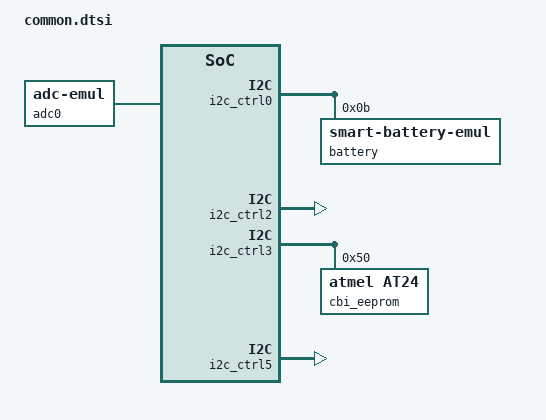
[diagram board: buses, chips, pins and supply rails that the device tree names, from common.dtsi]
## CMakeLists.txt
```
# Copyright 2022 The ChromiumOS Authors
# Use of this source code is governed by a BSD-style license that can be
# found in the LICENSE file.

cmake_minimum_required(VERSION 3.13.1)
find_package(Zephyr REQUIRED HINTS "${ZEPHYR_BASE}")
project(kingler)

add_subdirectory(${PLATFORM_EC}/zephyr/test/test_utils test_utils)

zephyr_include_directories("${PLATFORM_EC_PROGRAM_DIR}/corsola/include")
zephyr_include_directories("${PLATFORM_EC_PROGRAM_DIR}/../test/drivers/common/include")

target_sources_ifdef(CONFIG_TEST_BUILD_FAKE app PRIVATE src/fakes.c)

target_sources_ifdef(
        CONFIG_TEST_KINGLER_USBC
        app
        PRIVATE
        ${PLATFORM_EC_PROGRAM_DIR}/corsola/src/npcx_usbc.c
        ${PLATFORM_EC_PROGRAM_DIR}/corsola/src/npcx_usb_pd_policy.c
        ${PLATFORM_EC_PROGRAM_DIR}/corsola/src/usb_pd_policy.c
        ${PLATFORM_EC_PROGRAM_DIR}/corsola/src/usbc.c
        src/kingler_usbc.c)

target_sources_ifdef(CONFIG_TEST_CORSOLA_USBC app PRIVATE
                     ${PLATFORM_EC_PROGRAM_DIR}/corsola/src/usbc.c
                     src/corsola_usbc.c)

target_sources_ifdef(CONFIG_TEST_CORSOLA_USB_PD_POLICY app PRIVATE
                     ${PLATFORM_EC_PROGRAM_DIR}/corsola/src/usb_pd_policy.c
                     src/corsola_usb_pd_policy.c)

target_sources_ifdef(CONFIG_TEST_STEELIX_RUSTY app PRIVATE
                     ${PLATFORM_EC_PROGRAM_DIR}/corsola/steelix/src/board.c)
target_sources_ifdef(CONFIG_TEST_FORM_FACTOR_CONVERTIBLE app PRIVATE
                     src/tablet.c)
target_sources_ifdef(CONFIG_TEST_FORM_FACTOR_CLAMSHELL app PRIVATE
                     src/clamshell.c)
target_sources_ifdef(CONFIG_TEST_STEELIX_LED app PRIVATE
		     ${PLATFORM_EC_PROGRAM_DIR}/corsola/steelix/src/led.c
                     src/steelix_led.c)
target_sources_ifdef(
        CONFIG_TEST_DB_DETECT_TYPEC app PRIVATE
        ${PLATFORM_EC_PROGRAM_DIR}/corsola/src/variant_db_detection.c
        src/db_detect_typec.c)
target_sources_ifdef(
        CONFIG_TEST_DB_DETECT_HDMI
        app
        PRIVATE
        src/db_detect_hdmi.c
        ${PLATFORM_EC_PROGRAM_DIR}/corsola/src/variant_db_detection.c
        ${PLATFORM_EC}/zephyr/shim/src/usb_muxes.c
        ${PLATFORM_EC}/driver/usb_mux/usb_mux.c
        ${PLATFORM_EC}/driver/usb_mux/virtual.c)
target_sources_ifdef(
        CONFIG_TEST_DB_DETECT_NONE app PRIVATE
        ${PLATFORM_EC_PROGRAM_DIR}/corsola/src/variant_db_detection.c
        src/db_detect_none.c)
target_sources_ifdef(CONFIG_TEST_ALT_SENSOR_PROBE app PRIVATE src/alt_sensor.c)
target_sources_ifdef(CONFIG_TEST_KINGLER_CCD app PRIVATE src/ccd.c
                     ${PLATFORM_EC_PROGRAM_DIR}/corsola/src/board.c)
target_sources_ifdef(CONFIG_TEST_VOLTORB app PRIVATE src/voltorb_usbc.c
                     ${PLATFORM_EC_PROGRAM_DIR}/corsola/voltorb/src/usbc.c)
target_sources_ifdef(CONFIG_TEST_VOLTORB_DPS app PRIVATE src/voltorb_dps.c
                     ${PLATFORM_EC_PROGRAM_DIR}/corsola/voltorb/src/board.c)

target_sources_ifdef(
        CONFIG_TEST_DB_DETECTION_USB_COUNT
        app
        PRIVATE
        ${PLATFORM_EC_PROGRAM_DIR}/corsola/src/usbc.c
        src/usb_port_count.c)

target_sources_ifdef(
        CONFIG_TEST_PONYTA
        app
        PRIVATE
        ${PLATFORM_EC_PROGRAM_DIR}/corsola/ponyta/src/board.c
        src/ponyta_board.c)

target_sources_ifdef(CONFIG_TEST_KYOGRE_SENSOR_PROBE app PRIVATE src/kyogre_sensor.c)
target_sources_ifdef(
	CONFIG_TEST_KYOGRE_BATTERY_DETECTION_PROBE
	app
	PRIVATE
        ${PLATFORM_EC_PROGRAM_DIR}/corsola/kyogre/src/battery_detection.c
	src/kyogre_battery_detection.c)
target_sources_ifdef(CONFIG_TEST_KYOGRE_PEN_CHARGE_PROBE app PRIVATE
        ${PLATFORM_EC_PROGRAM_DIR}/corsola/kyogre/src/pen_charge.c
        src/kyogre_pen_charge.c)

target_sources_ifdef(CONFIG_TEST_SQUIRTLE
			app PRIVATE
                        src/voltorb_usbc.c
			${PLATFORM_EC_PROGRAM_DIR}/corsola/squirtle/src/usbc.c
                        )
```

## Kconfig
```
# Copyright 2022 The ChromiumOS Authors
# Use of this source code is governed by a BSD-style license that can be
# found in the LICENSE file.

config TEST_CORSOLA_USBC
	bool "Run the tests intended for corsola"
	help
	  Include USB-C usbc.c into the binary.

config TEST_CORSOLA_USB_PD_POLICY
	bool "Run the tests intended for corsola"
	help
	  Include USB-C usb_pd_policy.c tests into the binary.

config TEST_KINGLER_USBC
	bool "Run the tests intended for kingler"
	help
	  Include USB-C tests into the binary.

config TEST_STEELIX_RUSTY
	bool "Run the tests intended for steelix and rusty"
	help
	  Include board_steelix.c into the binary to test the clamshell and
	  convertible.

config TEST_STEELIX_LED
	bool "Run the tests intended for steelix and rusty"
	help
	  Include steelix_led.c into the binary to test the LED
	  functions.

config TEST_FORM_FACTOR_CLAMSHELL
	bool "Run the tests intended for clamshells"
	help
	  Include clamshell tests into the binary.

config TEST_FORM_FACTOR_CONVERTIBLE
	bool "Run the tests intended for convertibles"
	help
	  Include convertible tests into the binary.

config VARIANT_CORSOLA_DB_DETECTION
	bool "Run the tests intended for corsola DB detection"
	help
	  Include variant_db_detection.c into the binary to test the type-c DB
	  tests, HDMI DB tests and none DB tests.

config TEST_DB_DETECT_TYPEC
	bool "Run the tests intended for type-c DB"
	help
	  Include type-c DB tests into the binary.
	  test for DB GPIOs and interrupt.

config TEST_DB_DETECT_HDMI
	bool "Run the tests intended for HDMI DB"
	help
	  Include HDMI DB tests into the binary.
	  test for DB GPIOs and interrupt.

config TEST_DB_DETECT_NONE
	bool "Run the tests intended for none DB"
	help
	  Include none DB tests into the binary.
	  test for DB GPIOs and interrupt.

config TEST_ALT_SENSOR_PROBE
	bool "Run the tests intended for alt sensor probe"
	help
	  Include alt_sensor.c into the binary to test the alt sensor probe via
	  SSFC.

config TEST_KINGLER_CCD
	bool "Run the tests intended for alt sensor probe"
	help
	  Include alt_sensor.c into the binary to test the alt sensor probe via
	  SSFC.

config TEST_VOLTORB
	bool "Run the tests intended for voltorb"
	help
	  Include voltorb_usbc.c into the binary to test the type-c output
	  current limit function.

config TEST_VOLTORB_DPS
	bool "Run the tests intended for voltorb"
	help
	  Include voltorb_dps.c into the binary to test DPS change.

config TEST_DISABLE_INLINE_CHIPSET_IN_STATE
	bool "Disable chipset_in_state inline method"
	help
	  This is used to not define chipset_in_state method as inline
	  function.

config TEST_USB_PD_POLICY
	bool "Run the tests intended for voltorb usb policy"
	select TEST_DISABLE_INLINE_CHIPSET_IN_STATE
	help
	  Include voltorb_usbc.c into the binary to test the type-c output
	  current limit function.

config TEST_DB_DETECTION_USB_COUNT
	bool "Run the tests intended for db detection"
	help
	  Include USB-C tests into the binary for testing the reported port
	  count with db detection.

config TEST_PONYTA
	bool "Run the tests intended for ponyta"
	help
	  Include ponyta_boart.c into the binary to test the alt sensor probe via
	  SSFC and clamshell or convertible.


config TEST_SQUIRTLE
	bool "Run the tests intended for squirtle"
	help
	  Include voltorb_usbc.c into the binary to test the type-c output
	  current limit function.

config TEST_KYOGRE_SENSOR_PROBE
	bool "Run the tests intended for kyogre sensor probe"
	help
	  Include kyogre_sensor.c into the binary to test the kyogre sensor probe
	  with GPIO interrupt.

config TEST_KYOGRE_BATTERY_DETECTION_PROBE
	bool "Run the tests intended for kyogre battery detection probe"
	help
	  Include kyogre_battery_detection.c into the binary to test the kyogre
	  battery detection probe.

config TEST_KYOGRE_PEN_CHARGE_PROBE
	bool "Run the tests intended for kyogre pen charge probe"
	help
	  Include kyogre_pen_charge.c into the binary to test the kyogre pen charge
	  probe with GPIO interrupt.

config TEST_BUILD_FAKE
	bool "Build fakes.c"
	default y
	help
	  Add common fake functions fakes.c to the test

source "Kconfig.zephyr"
```

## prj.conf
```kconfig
# Copyright 2022 The ChromiumOS Authors
# Use of this source code is governed by a BSD-style license that can be
# found in the LICENSE file.

CONFIG_ZTEST=y
CONFIG_ZTEST_ASSERT_VERBOSE=1
CONFIG_ASSERT=y
CONFIG_EMUL=y
CONFIG_PLATFORM_EC_HOOKS=y

CONFIG_CROS_EC=y
CONFIG_PLATFORM_EC=y

CONFIG_PLATFORM_EC_LED_COMMON=n

CONFIG_PLATFORM_EC_GPIO_INIT_PRIORITY=49
CONFIG_PLATFORM_EC_DYNAMIC_MOTION_SENSOR_COUNT=y
CONFIG_PLATFORM_EC_GMR_TABLET_MODE=y
CONFIG_PLATFORM_EC_TABLET_MODE=y
CONFIG_PLATFORM_EC_LID_ANGLE=y

CONFIG_I2C_NPCX=n

CONFIG_GPIO_GET_CONFIG=y

CONFIG_PLATFORM_EC_BOARD_VERSION_CBI=y
CONFIG_EEPROM=y
CONFIG_EEPROM_SIMULATOR=n
CONFIG_EEPROM_AT2X_EMUL=y

CONFIG_LOG=y
CONFIG_LOG_MODE_MINIMAL=y
CONFIG_POSIX_ARCH_CONSOLE_INIT_PRIORITY=98
CONFIG_PLATFORM_EC_CONSOLE_INIT_PRIORITY=99
```

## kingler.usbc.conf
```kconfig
# Copyright 2023 The ChromiumOS Authors
# Use of this source code is governed by a BSD-style license that can be
# found in the LICENSE file.

CONFIG_PLATFORM_EC_TCPC_INTERRUPT=y
CONFIG_PLATFORM_EC_USB_PORT_POWER_DUMB=y
CONFIG_PLATFORM_EC_USBC=y
CONFIG_PLATFORM_EC_USB_PORT_POWER_DUMB_CUSTOM_HOOK=y
CONFIG_PLATFORM_EC_USBC_PPC=y
CONFIG_PLATFORM_EC_BATTERY_FUEL_GAUGE=y
CONFIG_PLATFORM_EC_VBOOT_HASH=n
CONFIG_PLATFORM_EC_SWITCH=n
CONFIG_PLATFORM_EC_USB_PD_DISCHARGE_PPC=y
CONFIG_PLATFORM_EC_USB_PD_VBUS_MEASURE_BY_BOARD=y
CONFIG_PLATFORM_EC_CHARGER_SENSE_RESISTOR=10
CONFIG_PLATFORM_EC_CHARGER_SENSE_RESISTOR_AC=20
CONFIG_PLATFORM_EC_EXTPOWER=y
CONFIG_PLATFORM_EC_HOSTCMD=y
CONFIG_VARIANT_CORSOLA_DB_DETECTION=n
CONFIG_PLATFORM_EC_BACKLIGHT_LID=n
CONFIG_PLATFORM_EC_CHARGER_ISL9238C=y
CONFIG_PLATFORM_EC_CHARGE_MANAGER=y
CONFIG_PLATFORM_EC_CHARGER=y
CONFIG_PLATFORM_EC_LID_SWITCH=y
CONFIG_PLATFORM_EC_CHARGE_RAMP_HW=y
CONFIG_PLATFORM_EC_USB_CHARGER=y
CONFIG_EMUL_TCPCI_PARTNER_DRP=y
```

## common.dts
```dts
/* Copyright 2022 The ChromiumOS Authors
 * Use of this source code is governed by a BSD-style license that can be
 * found in the LICENSE file.
 */

#include <board-overlays/native_posix.dts>
#include <npcx_emul.dts>

/ {
	usbc {
		#address-cells = <1>;
		#size-cells = <0>;
		port0@0 {
			compatible = "named-usbc-port";
			reg = <0>;
			usb-mux-chain-0 {
				compatible = "cros-ec,usb-mux-chain";
				usb-muxes = <&virtual_mux_0>;
			};
		};
		port1@1 {
			compatible = "named-usbc-port";
			reg = <1>;
			usb-mux-chain-1 {
				compatible = "cros-ec,usb-mux-chain";
				usb-muxes = <&virtual_mux_1>;
			};
		};
		port0-muxes {
			virtual_mux_0: virtual-mux-0 {
				compatible = "cros-ec,usbc-mux-virtual";
			};
		};
		port1-muxes {
			virtual_mux_1: virtual-mux-1 {
				compatible = "cros-ec,usbc-mux-virtual";
			};
		};
	};

	/* These are temporary just to get the test to build.
	 * Should be replaced with the correct accel drivers,
	 * but we're not testing that code right now anyway.
	 */
	motionsense-sensor-data {
		bmi160_data: bmi160-drv-data {
			compatible = "cros-ec,drvdata-bmi160";
			status = "okay";
		};
	};
	motionsense-sensor {
		base_accel: ms-bmi160-accel {
			compatible = "cros-ec,bmi160-accel";
			status = "okay";

			active-mask = "SENSOR_ACTIVE_S0_S3_S5";
			location = "MOTIONSENSE_LOC_BASE";
			drv-data = <&bmi160_data>;
			default-range = <4>;
			i2c-spi-addr-flags = "BMI160_ADDR0_FLAGS";
		};
		lid_accel: ms-bmi160-accel2 {
			compatible = "cros-ec,bmi160-accel";
			status = "okay";

			active-mask = "SENSOR_ACTIVE_S0_S3_S5";
			location = "MOTIONSENSE_LOC_BASE";
			drv-data = <&bmi160_data>;
			default-range = <4>;
			i2c-spi-addr-flags = "BMI160_ADDR0_FLAGS";
		};
	};
	motionsense-sensor-info {
		compatible = "cros-ec,motionsense-sensor-info";

		/*
		 * list of GPIO interrupts that have to
		 * be enabled at initial stage
		 */
		sensor-irqs = <&int_base_imu>;
		/* list of sensors in force mode */
		accel-force-mode-sensors = <&lid_accel>;
	};
	named-i2c-ports {
		compatible = "named-i2c-ports";
		i2c_sensor: i2c-sensor {
			i2c-port = <&i2c0_0>;
			enum-names = "I2C_PORT_SENSOR";
		};
		i2c_eeprom: i2c-eeprom {
			i2c-port = <&i2c3_0>;
			enum-names = "I2C_PORT_EEPROM";
		};
	};
	/* TODO(jbettis): Move the i2c ports and pinctrls to npcx_emul.dts,
	 * and add all of them instead of just these.
	 */
	soc-if {
		i2c0_0: io_i2c_ctrl0_port0 {
			compatible = "nuvoton,npcx-i2c-port";
			#address-cells = <1>;
			#size-cells = <0>;
			port = <0x00>;
			controller = <&i2c_ctrl0>;
			status = "disabled";
		};
		i2c3_0: io_i2c_ctrl3_port0 {
			compatible = "nuvoton,npcx-i2c-port";
			#address-cells = <1>;
			#size-cells = <0>;
			port = <0x30>;
			controller = <&i2c_ctrl3>;
			status = "disabled";
		};
	};
	pinctrl: pinctrl {
		compatible = "nuvoton,npcx-pinctrl";
		status = "okay";
		/* I2C peripheral interfaces */
		/omit-if-no-ref/ i2c0_0_sda_scl_gpb4_b5: periph-i2c0-0 {
			pinmux = <&alt2_i2c0_0_sl>;
			periph-pupd = <0x00 0>;
		};
		/omit-if-no-ref/ i2c3_0_sda_scl_gpd0_d1: periph-i2c3-0 {
			pinmux = <&alt2_i2c3_0_sl>;
			periph-pupd = <0x00 6>;
		};
	};
	npcx-alts-map {
		compatible = "nuvoton,npcx-pinctrl-conf";
		/* SCFG DEVALT 2 */
		alt2_i2c0_0_sl: alt20 {
			alts = <&scfg 0x02 0x0 0>;
		};
		alt2_i2c3_0_sl: alt26 {
			alts = <&scfg 0x02 0x6 0>;
		};
	};
};

&i2c0_0 {
	status = "okay";
	clock-frequency = <I2C_BITRATE_FAST>;
	pinctrl-0 = <&i2c0_0_sda_scl_gpb4_b5>;
	pinctrl-names = "default";
};

&i2c_ctrl0 {
	status = "okay";
};

&i2c_ctrl2 {
	status = "okay";
};

i2c_pwr_cbi: &i2c3_0 {
	status = "okay";
	clock-frequency = <I2C_BITRATE_FAST>;
	pinctrl-0 = <&i2c3_0_sda_scl_gpd0_d1>;
	pinctrl-names = "default";

	charger: isl923x@9 {
		compatible = "intersil,isl923x";
		status = "okay";
		reg = <0x9>;
	};
};

&i2c_ctrl3 {
	status = "okay";
};

&i2c_ctrl5 {
	status = "okay";
};

&i2c_ctrl3 {
	cbi_eeprom: eeprom@50 {
		compatible = "atmel,at24";
		reg = <0x50>;
		size = <2048>;
		pagesize = <16>;
		address-width = <8>;
		timeout = <5>;
	};
};
```

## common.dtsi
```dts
/* Copyright 2022 The ChromiumOS Authors
 * Use of this source code is governed by a BSD-style license that can be
 * found in the LICENSE file.
 */

#include <board-overlays/native_sim.dts>
#include <dt-bindings/usb_pd_tcpm.h>
#include <npcx_emul.dts>
#include <zephyr/dt-bindings/gpio/gpio.h>

/ {
	usbc {
		#address-cells = <1>;
		#size-cells = <0>;
		port0@0 {
			compatible = "named-usbc-port";
			reg = <0>;
			usb-mux-chain-0 {
				compatible = "cros-ec,usb-mux-chain";
				usb-muxes = <&virtual_mux_0>;
			};
		};
		port1@1 {
			compatible = "named-usbc-port";
			reg = <1>;
			usb-mux-chain-1 {
				compatible = "cros-ec,usb-mux-chain";
				usb-muxes = <&virtual_mux_1>;
			};
			usb_mux_chain_1_hdmi_db: usb-mux-chain-1-hdmi-db {
				compatible = "cros-ec,usb-mux-chain";
				alternative-chain;
				usb-muxes = <&virtual_mux_1>;
			};
		};
		port0-muxes {
			virtual_mux_0: virtual-mux-0 {
				compatible = "cros-ec,usbc-mux-virtual";
			};
		};
		port1-muxes {
			virtual_mux_1: virtual-mux-1 {
				compatible = "cros-ec,usbc-mux-virtual";
			};
		};
	};

	adc0: adc {
		compatible = "zephyr,adc-emul";
		nchannels = <6>;
		ref-internal-mv = <3300>;
		#io-channel-cells = <1>;
		status = "okay";
	};

	named-adc-channels {
		compatible = "named-adc-channels";

		adc_charger_pmon_r {
			enum-name = "ADC_PSYS";
			io-channels = <&adc0 0>;
			/*
			 * ISL9238C PSYS output is 1.44 uA/W over 33K resistor.
			 */
			mul = <21043>;
		};
		adc_ec_id0 {
			enum-name = "ADC_ID_0";
			io-channels = <&adc0 1>;
		};
		adc_ec_id1 {
			enum-name = "ADC_ID_1";
			io-channels = <&adc0 2>;
		};
		adc_charger_amon_r {
			enum-name = "ADC_AMON_BMON";
			io-channels = <&adc0 3>;
			mul = <1000>;
			div = <18>;
		};
	};

	/* These are temporary just to get the test to build.
	 * Should be replaced with the correct accel drivers,
	 * but we're not testing that code right now anyway.
	 */
	motionsense-sensor-data {
		bmi160_data: bmi160-drv-data {
			compatible = "cros-ec,drvdata-bmi160";
			status = "okay";
		};
	};
	motionsense-sensor {
		base_accel: ms-bmi160-accel {
			compatible = "cros-ec,bmi160-accel";
			status = "okay";

			active-mask = "SENSOR_ACTIVE_S0_S3_S5";
			location = "MOTIONSENSE_LOC_BASE";
			drv-data = <&bmi160_data>;
			default-range = <4>;
			i2c-spi-addr-flags = "BMI160_ADDR0_FLAGS";
		};
		lid_accel: ms-bmi160-accel2 {
			compatible = "cros-ec,bmi160-accel";
			status = "okay";

			active-mask = "SENSOR_ACTIVE_S0_S3_S5";
			location = "MOTIONSENSE_LOC_BASE";
			drv-data = <&bmi160_data>;
			default-range = <4>;
			i2c-spi-addr-flags = "BMI160_ADDR0_FLAGS";
		};
	};
	motionsense-sensor-info {
		compatible = "cros-ec,motionsense-sensor-info";

		/*
		 * list of GPIO interrupts that have to
		 * be enabled at initial stage
		 */
		sensor-irqs = <&int_base_imu>;
		/* list of sensors in force mode */
		accel-force-mode-sensors = <&lid_accel>;
	};

	named-i2c-ports {
		compatible = "named-i2c-ports";
		i2c_sensor: i2c-sensor {
			i2c-port = <&i2c_ctrl0>;
			enum-names = "I2C_PORT_SENSOR";
		};
		i2c_eeprom: i2c-eeprom {
			i2c-port = <&i2c_ctrl3>;
			enum-names = "I2C_PORT_EEPROM", "I2C_PORT_BATTERY",
					"I2C_PORT_CHARGER";
		};
	};
	pinctrl: pinctrl {
		compatible = "nuvoton,npcx-pinctrl";
		status = "okay";
		/* I2C peripheral interfaces */
		/omit-if-no-ref/ i2c0_0_sda_scl_gpb4_b5: periph-i2c0-0 {
			pinmux = <&alt2_i2c0_0_sl>;
			periph-pupd = <0x00 0>;
		};
		/omit-if-no-ref/ i2c3_0_sda_scl_gpd0_d1: periph-i2c3-0 {
			pinmux = <&alt2_i2c3_0_sl>;
			periph-pupd = <0x00 6>;
		};
	};
	npcx-alts-map {
		compatible = "nuvoton,npcx-pinctrl-conf";
		/* SCFG DEVALT 2 */
		alt2_i2c0_0_sl: alt20 {
			alts = <&scfg 0x02 0x0 0>;
		};
		alt2_i2c3_0_sl: alt26 {
			alts = <&scfg 0x02 0x6 0>;
		};
	};
};

&i2c_ctrl0 {
	status = "okay";


	battery: sb@b {
		compatible = "zephyr,smart-battery-emul";
		status = "okay";
		reg = <0xb>;
		cycle-count = <99>;
		version = "BATTERY_SPEC_VER_1_1_WITH_PEC";
		/* Real battery voltages are multiples of 4.4V. */
		desired-charg-volt = <5000>;
		desired-charg-cur = <1000>;
		mf-name = "LGC";
		dev-name = "AC17A8M";
	};
};

&i2c_ctrl2 {
	status = "okay";
};

&i2c_ctrl3 {
	status = "okay";

	cbi_eeprom: eeprom@50 {
		compatible = "atmel,at24";
		reg = <0x50>;
		size = <2048>;
		pagesize = <16>;
		address-width = <8>;
		timeout = <5>;
	};
};

&i2c_ctrl5 {
	status = "okay";
};
```

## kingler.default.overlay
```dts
/* Copyright 2023 The ChromiumOS Authors
 * Use of this source code is governed by a BSD-style license that can be
 * found in the LICENSE file.
 */

#include "common.dtsi"
#include "../program/corsola/npcx_interrupts.dtsi"
#include "../program/corsola/npcx_gpio.dtsi"
#include "../program/corsola/usba.dtsi"
```

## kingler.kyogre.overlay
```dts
/* Copyright 2024 The ChromiumOS Authors
 * Use of this source code is governed by a BSD-style license that can be
 * found in the LICENSE file.
 */

#include "common.dtsi"
#include "../program/corsola/npcx_interrupts.dtsi"
#include "../program/corsola/npcx_gpio.dtsi"

/ {
	aliases {
		/*
		 * motion sense's <>_INT_EVENT is handled
		 * by alias. Using the alias, each driver creates
		 * its own <>_INT_EVENT.
		 */
		lsm6dso-int = &base_accel;
		lis2dw12-int = &lid_accel;
	};

	gpio-interrupts {
		compatible = "cros-ec,gpio-interrupts";
		/delete-node/ int_base_imu;
		/delete-node/ int_lid_imu;

		int_base_imu: base_imu {
			irq-pin = <&base_imu_int_l>;
			flags = <GPIO_INT_EDGE_FALLING>;
			handler = "lsm6dso_interrupt";
		};
		int_lid_imu: lid_imu {
			irq-pin = <&lid_accel_int_l>;
			flags = <GPIO_INT_EDGE_FALLING>;
			handler = "lis2dw12_interrupt";
		};
		int_pen_fault: pen_fault {
			irq-pin = <&pen_fault_od>;
			flags = <GPIO_INT_EDGE_RISING>;
			handler = "pen_fault_interrupt";
		};
	};

	named-gpios {
		compatible = "named-gpios";
		/delete-node/ lid_accel_int_l;

		lid_accel_int_l:lid_accel_int_l {
			gpios = <&gpiob 3 (GPIO_INPUT | GPIO_VOLTAGE_1P8)>;
		};
		ec_batt_pres_odl: ec_batt_pres_odl {
			gpios = <&gpioe 0 GPIO_INPUT>;
			enum-name = "GPIO_BATT_PRES_ODL";
		};
		ec_pen_chg_dis_odl: ec_pen_chg_dis_odl {
 			gpios = <&gpioe 4 GPIO_ODR_HIGH>;
		};
		pen_fault_od: pen_fault_od {
			gpios = <&gpiof 3 GPIO_INPUT>;
		};
	};

	motionsense-sensor-info {
		compatible = "cros-ec,motionsense-sensor-info";

		/*
		 * list of GPIO interrupts that have to
		 * be enabled at initial stage
		 */
		sensor-irqs = <&int_base_imu &int_lid_imu>;
	};
};
```

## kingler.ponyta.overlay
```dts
/* Copyright 2023 The ChromiumOS Authors
 * Use of this source code is governed by a BSD-style license that can be
 * found in the LICENSE file.
 */

#include "common.dtsi"
#include "../program/corsola/npcx_interrupts.dtsi"
#include "../program/corsola/npcx_gpio.dtsi"
#include "../program/corsola/ponyta/cbi.dtsi"
#include "../program/corsola/ponyta/interrupts.dtsi"

/ {
	aliases {
		/*
		 * motion sense's <>_INT_EVENT is handled
		 * by alias. Using the alias, each driver creates
		 * its own <>_INT_EVENT.
		 */
		lsm6dsm-int = &base_accel;
	};
};
```

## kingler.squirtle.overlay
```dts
/* Copyright 2024 The ChromiumOS Authors
 * Use of this source code is governed by a BSD-style license that can be
 * found in the LICENSE file.
 */

#include "common.dtsi"
#include "../program/corsola/npcx_interrupts.dtsi"
#include "../program/corsola/npcx_gpio.dtsi"
#include "../program/corsola/usba.dtsi"
```

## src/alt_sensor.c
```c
/* Copyright 2022 The ChromiumOS Authors
 * Use of this source code is governed by a BSD-style license that can be
 * found in the LICENSE file.
 */

#include "cros_board_info.h"
#include "cros_cbi.h"
#include "gpio_signal.h"
#include "hooks.h"
#include "zephyr/kernel.h"

#include <zephyr/drivers/gpio/gpio_emul.h>
#include <zephyr/ztest.h>

/* SSFC field defined in zephyr/program/corsola/cbi_steelix.dts */
#define SSFC_BASE_MAIN_SENSOR (0x1)
#define SSFC_BASE_ALT_SENSOR (0x1 << 1)

#define SSFC_LID_MAIN_SENSOR (0x1 << 3)
#define SSFC_LID_ALT_SENSOR (0x1 << 4)

#define SSFC_MAIM_SENSORS (SSFC_LID_MAIN_SENSOR | SSFC_BASE_MAIN_SENSOR)
#define SSFC_ALT_SENSORS (SSFC_LID_ALT_SENSOR | SSFC_BASE_ALT_SENSOR)

static void reset(void)
{
	/* Re-initialize CBI */
	cros_cbi_ec_init();

	/* Re-initialize sensors and board config */
	hook_notify(HOOK_INIT);
}

static void *use_alt_sensor_setup(void)
{
	const struct device *wp_gpio =
		DEVICE_DT_GET(DT_GPIO_CTLR(DT_ALIAS(gpio_wp), gpios));
	const gpio_port_pins_t wp_pin = DT_GPIO_PIN(DT_ALIAS(gpio_wp), gpios);

	/* Make sure that write protect is disabled */
	zassert_ok(gpio_emul_input_set(wp_gpio, wp_pin, 1), NULL);
	/* Set SSFC to enable alt sensors. */
	zassert_ok(cbi_set_ssfc(SSFC_ALT_SENSORS), NULL);
	/* Set form factor to CONVERTIBLE to enable motion sense interrupts. */
	zassert_ok(cbi_set_fw_config(CONVERTIBLE << 13), NULL);
	/* Run init hooks to initialize cbi. */
	reset();

	return NULL;
}

ZTEST_SUITE(use_alt_sensor, NULL, use_alt_sensor_setup, NULL, NULL, NULL);

static void *no_alt_sensor_setup(void)
{
	const struct device *wp_gpio =
		DEVICE_DT_GET(DT_GPIO_CTLR(DT_ALIAS(gpio_wp), gpios));
	const gpio_port_pins_t wp_pin = DT_GPIO_PIN(DT_ALIAS(gpio_wp), gpios);

	/* Make sure that write protect is disabled */
	zassert_ok(gpio_emul_input_set(wp_gpio, wp_pin, 1), NULL);
	/* Set SSFC to disable alt sensors. */
	zassert_ok(cbi_set_ssfc(SSFC_MAIM_SENSORS), NULL);
	/* Set form factor to CONVERTIBLE to enable motion sense interrupts. */
	zassert_ok(cbi_set_fw_config(CONVERTIBLE << 13), NULL);
	/* Run init hooks to initialize cbi. */
	reset();

	return NULL;
}

ZTEST_SUITE(no_alt_sensor, NULL, no_alt_sensor_setup, NULL, NULL, NULL);

static int interrupt_id;

void bmi3xx_interrupt(enum gpio_signal signal)
{
	interrupt_id = 1;
}

void lsm6dsm_interrupt(enum gpio_signal signal)
{
	interrupt_id = 2;
}

ZTEST(use_alt_sensor, test_use_alt_sensor)
{
	const struct device *base_imu_gpio = DEVICE_DT_GET(
		DT_GPIO_CTLR(DT_NODELABEL(base_imu_int_l), gpios));
	const gpio_port_pins_t base_imu_pin =
		DT_GPIO_PIN(DT_NODELABEL(base_imu_int_l), gpios);

	zassert_ok(gpio_emul_input_set(base_imu_gpio, base_imu_pin, 1), NULL);
	k_sleep(K_MSEC(100));
	zassert_ok(gpio_emul_input_set(base_imu_gpio, base_imu_pin, 0), NULL);
	k_sleep(K_MSEC(100));

	zassert_equal(interrupt_id, 2, "interrupt_id=%d", interrupt_id);
}

ZTEST(no_alt_sensor, test_no_alt_sensor)
{
	const struct device *base_imu_gpio = DEVICE_DT_GET(
		DT_GPIO_CTLR(DT_NODELABEL(base_imu_int_l), gpios));
	const gpio_port_pins_t base_imu_pin =
		DT_GPIO_PIN(DT_NODELABEL(base_imu_int_l), gpios);

	zassert_ok(gpio_emul_input_set(base_imu_gpio, base_imu_pin, 1), NULL);
	k_sleep(K_MSEC(100));
	zassert_ok(gpio_emul_input_set(base_imu_gpio, base_imu_pin, 0), NULL);
	k_sleep(K_MSEC(100));

	zassert_equal(interrupt_id, 1, "interrupt_id=%d", interrupt_id);
}
```

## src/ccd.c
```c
/* Copyright 2022 The ChromiumOS Authors
 * Use of this source code is governed by a BSD-style license that can be
 * found in the LICENSE file.
 */

#include "gpio/gpio_int.h"
#include "gpio_signal.h"
#include "hooks.h"

#include <zephyr/drivers/gpio/gpio_emul.h>
#include <zephyr/fff.h>
#include <zephyr/kernel.h>
#include <zephyr/ztest.h>

FAKE_VOID_FUNC(typec_set_sbu, int, bool);
/* fake definitions to pass build */
FAKE_VOID_FUNC(bmi3xx_interrupt, enum gpio_signal);
FAKE_VOID_FUNC(x_ec_interrupt, enum gpio_signal);

#define FFF_FAKES_LIST(FAKE)   \
	FAKE(typec_set_sbu)    \
	FAKE(bmi3xx_interrupt) \
	FAKE(x_ec_interrupt)

struct kingler_ccd_fixture {
	int default_ccd_lvl;
	int default_aux_path_lvl;
};

static void *ccd_setup(void)
{
	static struct kingler_ccd_fixture f;

	return &f;
}

static void kingler_ccd_reset_rule_before(const struct ztest_unit_test *test,
					  void *data)
{
	ARG_UNUSED(test);
	ARG_UNUSED(data);
	FFF_FAKES_LIST(RESET_FAKE);
	FFF_RESET_HISTORY();
}
ZTEST_RULE(kingler_ccd_reset_rule, kingler_ccd_reset_rule_before, NULL);

static void kingler_ccd_before(void *data)
{
	struct kingler_ccd_fixture *f = (struct kingler_ccd_fixture *)data;

	f->default_ccd_lvl =
		gpio_pin_get_dt(GPIO_DT_FROM_NODELABEL(gpio_ccd_mode_odl));
	f->default_aux_path_lvl =
		gpio_pin_get_dt(GPIO_DT_FROM_NODELABEL(dp_aux_path_sel));

	zassert_ok(gpio_enable_dt_interrupt(
		GPIO_INT_FROM_NODELABEL(int_ccd_mode_odl)));
}

static void kingler_ccd_after(void *data)
{
	struct kingler_ccd_fixture *f = (struct kingler_ccd_fixture *)data;

	zassert_ok(gpio_disable_dt_interrupt(
		GPIO_INT_FROM_NODELABEL(int_ccd_mode_odl)));
	zassert_ok(gpio_pin_set_dt(GPIO_DT_FROM_NODELABEL(gpio_ccd_mode_odl),
				   f->default_ccd_lvl));
	zassert_ok(gpio_pin_set_dt(GPIO_DT_FROM_NODELABEL(dp_aux_path_sel),
				   f->default_aux_path_lvl));
}

ZTEST_SUITE(kingler_ccd, NULL, ccd_setup, kingler_ccd_before, kingler_ccd_after,
	    NULL);

ZTEST_F(kingler_ccd, test_dp_aux_path)
{
	const struct device *ccd_mode_odl_gpio = DEVICE_DT_GET(
		DT_GPIO_CTLR(DT_NODELABEL(gpio_ccd_mode_odl), gpios));
	const gpio_port_pins_t ccd_mode_odl_pin =
		DT_GPIO_PIN(DT_NODELABEL(gpio_ccd_mode_odl), gpios);
	const struct device *dp_aux_gpio = DEVICE_DT_GET(
		DT_GPIO_CTLR(DT_NODELABEL(dp_aux_path_sel), gpios));
	const gpio_port_pins_t dp_aux_pin =
		DT_GPIO_PIN(DT_NODELABEL(dp_aux_path_sel), gpios);

	/* reset CCD mode and mux AUX path to CCD port by default */
	zassert_ok(gpio_emul_input_set(ccd_mode_odl_gpio, ccd_mode_odl_pin, 1),
		   NULL);
	zassert_ok(gpio_pin_set_dt(GPIO_DT_FROM_NODELABEL(dp_aux_path_sel), 0),
		   NULL);
	zassert_equal(0, gpio_emul_output_get(dp_aux_gpio, dp_aux_pin), NULL);

	/* CCD asserts and trigger ccd_interrupt */
	zassert_ok(gpio_emul_input_set(ccd_mode_odl_gpio, ccd_mode_odl_pin, 0),
		   NULL);
	k_sleep(K_MSEC(100));

	zassert_equal(1, typec_set_sbu_fake.call_count, NULL);
	/* CCD triggered, aux path has to be muxed to port 1 */
	zassert_equal(1, gpio_emul_output_get(dp_aux_gpio, dp_aux_pin), NULL);

	/* CCD deasserts */
	zassert_ok(gpio_emul_input_set(ccd_mode_odl_gpio, ccd_mode_odl_pin, 1),
		   NULL);

	k_sleep(K_MSEC(100));
	/* do not touch dp aux path when CCD deasserted */
	zassert_equal(1, gpio_emul_output_get(dp_aux_gpio, dp_aux_pin), NULL);
	zassert_equal(1, typec_set_sbu_fake.call_count, NULL);
}
```

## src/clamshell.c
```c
/* Copyright 2022 The ChromiumOS Authors
 * Use of this source code is governed by a BSD-style license that can be
 * found in the LICENSE file.
 */

#include "cros_board_info.h"
#include "cros_cbi.h"
#include "gpio_signal.h"
#include "hooks.h"
#include "tablet_mode.h"
#include "zephyr/kernel.h"

#include <zephyr/drivers/gpio/gpio_emul.h>
#include <zephyr/ztest.h>

static void *clamshell_setup(void)
{
	uint32_t val;
	const struct device *wp_gpio =
		DEVICE_DT_GET(DT_GPIO_CTLR(DT_ALIAS(gpio_wp), gpios));
	const gpio_port_pins_t wp_pin = DT_GPIO_PIN(DT_ALIAS(gpio_wp), gpios);

	/* Make sure that write protect is disabled */
	zassert_ok(gpio_emul_input_set(wp_gpio, wp_pin, 1), NULL);
	/* Set CBI form factor to CONVERTIBLE. */
	zassert_ok(cbi_set_fw_config(CLAMSHELL << 13), NULL);
	/* Run init hooks to initialize cbi. */
	hook_notify(HOOK_INIT);

	/* Check if CBI write worked. */
	zassert_ok(cros_cbi_get_fw_config(FORM_FACTOR, &val), NULL);
	zassert_equal(CLAMSHELL, val, "val=%d", val);

	return NULL;
}

ZTEST_SUITE(steelix_clamshell, NULL, clamshell_setup, NULL, NULL, NULL);

ZTEST(steelix_clamshell, test_gmr_tablet_switch_disabled)
{
	const struct device *tablet_mode_gpio = DEVICE_DT_GET(
		DT_GPIO_CTLR(DT_NODELABEL(gpio_tablet_mode_l), gpios));
	const gpio_port_pins_t tablet_mode_pin =
		DT_GPIO_PIN(DT_NODELABEL(gpio_tablet_mode_l), gpios);

	/* Verify gmr_tablet_switch is disabled, by checking the side effects
	 * of calling tablet_set_mode, and setting gpio_tablet_mode_l.
	 */
	zassert_ok(gpio_emul_input_set(tablet_mode_gpio, tablet_mode_pin, 0),
		   NULL);
	k_sleep(K_MSEC(100));
	tablet_set_mode(1, TABLET_TRIGGER_LID);
	zassert_equal(0, tablet_get_mode(), NULL);
	zassert_ok(gpio_emul_input_set(tablet_mode_gpio, tablet_mode_pin, 1),
		   NULL);
	k_sleep(K_MSEC(100));
	tablet_set_mode(0, TABLET_TRIGGER_LID);
	zassert_equal(0, tablet_get_mode(), NULL);
	zassert_ok(gpio_emul_input_set(tablet_mode_gpio, tablet_mode_pin, 0),
		   NULL);
	k_sleep(K_MSEC(100));
	tablet_set_mode(1, TABLET_TRIGGER_LID);
	zassert_equal(0, tablet_get_mode(), NULL);
}

static int interrupt_count;

void bmi3xx_interrupt(enum gpio_signal signal)
{
	interrupt_count++;
}

ZTEST(steelix_clamshell, test_base_imu_irq_disabled)
{
	const struct device *base_imu_gpio = DEVICE_DT_GET(
		DT_GPIO_CTLR(DT_NODELABEL(base_imu_int_l), gpios));
	const gpio_port_pins_t base_imu_pin =
		DT_GPIO_PIN(DT_NODELABEL(base_imu_int_l), gpios);

	/* Verify base_imu_irq is disabled. */
	interrupt_count = 0;
	zassert_ok(gpio_emul_input_set(base_imu_gpio, base_imu_pin, 1), NULL);
	k_sleep(K_MSEC(100));
	zassert_ok(gpio_emul_input_set(base_imu_gpio, base_imu_pin, 0), NULL);
	k_sleep(K_MSEC(100));

	zassert_equal(interrupt_count, 0, "interrupt_count=%d",
		      interrupt_count);
}
```

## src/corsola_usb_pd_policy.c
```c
/* Copyright 2023 The ChromiumOS Authors
 * Use of this source code is governed by a BSD-style license that can be
 * found in the LICENSE file.
 */

#include "gpio_signal.h"
#include "power.h"
#include "usb_charge.h"
#include "usb_mux.h"
#include "usb_pd.h"

#include <zephyr/drivers/gpio/gpio_emul.h>
#include <zephyr/fff.h>
#include <zephyr/ztest.h>

FAKE_VALUE_FUNC(int, board_set_active_charge_port, int);
FAKE_VALUE_FUNC(int, board_vbus_source_enabled, int);
FAKE_VOID_FUNC(button_interrupt, enum gpio_signal);
FAKE_VOID_FUNC(xhci_interrupt, enum gpio_signal);
FAKE_VOID_FUNC(ppc_interrupt, enum gpio_signal);
FAKE_VOID_FUNC(bc12_interrupt, enum gpio_signal);
FAKE_VOID_FUNC(x_ec_interrupt, enum gpio_signal);
FAKE_VOID_FUNC(bmi3xx_interrupt, enum gpio_signal);
FAKE_VOID_FUNC(ccd_interrupt, enum gpio_signal);
FAKE_VALUE_FUNC(int, ppc_is_sourcing_vbus, int);
FAKE_VALUE_FUNC(int, ppc_vbus_source_enable, int, int);
FAKE_VALUE_FUNC(int, ppc_vbus_sink_enable, int, int);
FAKE_VALUE_FUNC(uint8_t, get_dp_pin_mode, int);
FAKE_VOID_FUNC(pd_set_vbus_discharge, int, int);
FAKE_VOID_FUNC(pd_send_host_event, int);
FAKE_VOID_FUNC(lid_angle_peripheral_enable, int);

#define FFF_FAKES_LIST(FAKE)               \
	FAKE(board_set_active_charge_port) \
	FAKE(board_vbus_source_enabled)    \
	FAKE(button_interrupt)             \
	FAKE(xhci_interrupt)               \
	FAKE(ppc_interrupt)                \
	FAKE(bc12_interrupt)               \
	FAKE(x_ec_interrupt)               \
	FAKE(bmi3xx_interrupt)             \
	FAKE(ppc_is_sourcing_vbus)         \
	FAKE(ppc_vbus_source_enable)       \
	FAKE(ppc_vbus_sink_enable)         \
	FAKE(pd_set_vbus_discharge)        \
	FAKE(pd_send_host_event)           \
	FAKE(get_dp_pin_mode)              \
	FAKE(ccd_interrupt)

extern int active_aux_port;

static void corsola_reset(void *fixture)
{
	ARG_UNUSED(fixture);

	/* Reset fakes */
	FFF_FAKES_LIST(RESET_FAKE);
	RESET_FAKE(lid_angle_peripheral_enable);
	FFF_RESET_HISTORY();

	active_aux_port = -1;

	/* reset default */
	gpio_pin_set_dt(GPIO_DT_FROM_NODELABEL(dp_aux_path_sel), 1);

	for (int i = 0; i < board_get_usb_pd_port_count(); i++) {
		usb_mux_set(i, USB_PD_MUX_NONE, USB_SWITCH_DISCONNECT, 0);
		dp_flags[i] = 0;
		dp_status[i] = 0;
	}
}

ZTEST(corsola_usb_pd_policy, test_pd_power_supply_reset)
{
	const int port = 0;
	int count = 0;

	ppc_is_sourcing_vbus_fake.return_val = 1;
	pd_power_supply_reset(port);
	k_sleep(K_MSEC(100)); /* sleep to trigger deferred hooks */
	zassert_equal(ppc_is_sourcing_vbus_fake.arg0_history[count], port);
	zassert_equal(ppc_vbus_source_enable_fake.arg0_history[count], port);
	zassert_equal(ppc_vbus_source_enable_fake.arg1_history[count], 0);
	zassert_equal(pd_set_vbus_discharge_fake.arg0_history[count], port);
	zassert_equal(pd_set_vbus_discharge_fake.arg1_history[count], 1);
	zassert_equal(pd_send_host_event_fake.arg0_history[count],
		      PD_EVENT_POWER_CHANGE);

	ppc_is_sourcing_vbus_fake.return_val = 0;
	pd_power_supply_reset(port);
	k_sleep(K_MSEC(100)); /* sleep to trigger deferred hooks */
	count++;
	zassert_equal(ppc_is_sourcing_vbus_fake.arg0_history[count], port);
	zassert_equal(ppc_vbus_source_enable_fake.arg0_history[count], port);
	zassert_equal(ppc_vbus_source_enable_fake.arg1_history[count], 0);
	zassert_equal(pd_set_vbus_discharge_fake.call_count, 1);
	zassert_equal(pd_send_host_event_fake.arg0_history[count],
		      PD_EVENT_POWER_CHANGE);
}

ZTEST(corsola_usb_pd_policy, test_pd_set_power_supply_ready_success)
{
	const int port = 0;

	ppc_vbus_sink_enable_fake.return_val = 0;
	ppc_vbus_source_enable_fake.return_val = 0;

	zassert_ok(pd_set_power_supply_ready(port));
	k_sleep(K_MSEC(100)); /* sleep to trigger deferred hooks */

	zassert_equal(ppc_vbus_sink_enable_fake.arg0_history[0], port);
	zassert_equal(ppc_vbus_sink_enable_fake.arg1_history[0], 0);

	zassert_equal(pd_set_vbus_discharge_fake.arg0_history[0], port);
	zassert_equal(pd_set_vbus_discharge_fake.arg1_history[0], 0);

	zassert_equal(ppc_vbus_source_enable_fake.arg0_history[0], port);
	zassert_equal(ppc_vbus_source_enable_fake.arg1_history[0], 1);
	zassert_equal(pd_send_host_event_fake.arg0_history[0],
		      PD_EVENT_POWER_CHANGE);
}

ZTEST(corsola_usb_pd_policy, test_pd_set_power_supply_ready_fail1)
{
	const int port = 0;

	ppc_vbus_sink_enable_fake.return_val = 1;
	ppc_vbus_source_enable_fake.return_val = 0;

	zassert_ok(!pd_set_power_supply_ready(port));
}

ZTEST(corsola_usb_pd_policy, test_pd_set_power_supply_ready_fail2)
{
	const int port = 0;

	ppc_vbus_sink_enable_fake.return_val = 0;
	ppc_vbus_source_enable_fake.return_val = 1;

	zassert_ok(!pd_set_power_supply_ready(port));
}

ZTEST(corsola_usb_pd_policy, test_pd_check_vconn_swap)
{
	const int port = 0;
	/* suspend */
	power_set_state(POWER_S3);
	zassert_equal(pd_check_vconn_swap(port), true);

	/* s0 */
	power_set_state(POWER_S0);
	zassert_equal(pd_check_vconn_swap(port), true);

	/* softoff */
	power_set_state(POWER_S5);
	zassert_equal(pd_check_vconn_swap(port), false);

	/* hardoff */
	power_set_state(POWER_G3);
	zassert_equal(pd_check_vconn_swap(port), false);
}

ZTEST(corsola_usb_pd_policy, test_svdm_dp_attention_dp_unmuxable)
{
	uint32_t payload[] = { 0x0,
			       VDO_DP_STATUS(/*irq*/ 1, /*lvl*/ 1, /*amode*/ 0,
					     /*usbc*/ 1, /* mf */ 1, /* en */ 1,
					     /* lp */ 0, /* conn */ 0x02) };
	const int port = 0;

	usb_mux_set(1, USB_PD_MUX_DP_ENABLED, USB_SWITCH_CONNECT, 0);

	zassert_equal(0, svdm_dp_attention(port, payload));
}

ZTEST(corsola_usb_pd_policy, test_svdm_dp_attention_dp_err)
{
	uint32_t payload[] = { 0x0,
			       VDO_DP_STATUS(/*irq*/ 1, /*lvl*/ 0, /*amode*/ 0,
					     /*usbc*/ 1, /* mf */ 1, /* en */ 1,
					     /* lp */ 0, /* conn */ 0x02) };
	const int port = 0;

	usb_mux_set(1, USB_PD_MUX_DP_ENABLED, USB_SWITCH_CONNECT, 0);

	zassert_equal(0, svdm_dp_attention(port, payload));
}

ZTEST(corsola_usb_pd_policy, test_svdm_dp_attention_dp_lvl_high)
{
	uint32_t payload[] = { 0x0,
			       VDO_DP_STATUS(/*irq*/ 1, /*lvl*/ 1, /*amode*/ 0,
					     /*usbc*/ 1, /* mf */ 1, /* en */ 1,
					     /* lp */ 0, /* conn */ 0x02) };
	const int port = 0;
	const struct gpio_dt_spec *aux_path =
		GPIO_DT_FROM_NODELABEL(dp_aux_path_sel);

	gpio_pin_set_dt(GPIO_DT_FROM_NODELABEL(ec_ap_dp_hpd_odl), 0);
	zassert_equal(1, svdm_dp_attention(port, payload));
	zassert_equal(usb_mux_get(port), USB_PD_MUX_DOCK | USB_PD_MUX_HPD_LVL |
						 USB_PD_MUX_HPD_IRQ);
	zassert_equal(gpio_emul_output_get(aux_path->port, aux_path->pin),
		      port);
}

ZTEST(corsola_usb_pd_policy, test_svdm_dp_attention_dp_lvl_low)
{
	uint32_t payload[] = { 0x0,
			       VDO_DP_STATUS(/*irq*/ 0, /*lvl*/ 0, /*amode*/ 0,
					     /*usbc*/ 1, /* mf */ 1, /* en */ 1,
					     /* lp */ 0, /* conn */ 0x02) };
	const int port = 0;
	const struct gpio_dt_spec *aux_path =
		GPIO_DT_FROM_NODELABEL(dp_aux_path_sel);

	zassert_equal(1, svdm_dp_attention(port, payload));
	zassert_equal(usb_mux_get(port), USB_PD_MUX_USB_ENABLED);
	zassert_equal(gpio_emul_output_get(aux_path->port, aux_path->pin), 1);
}

ZTEST(corsola_usb_pd_policy, test_svdm_dp_config_pin_mod_none)
{
	uint32_t payload[] = { 0x0, 0x0 };
	const int port = 0;

	get_dp_pin_mode_fake.return_val = 0;
	zassert_equal(0, svdm_dp_config(port, payload));
	zassert_equal(0, payload[0]);
	zassert_equal(0, payload[1]);
}

ZTEST(corsola_usb_pd_policy, test_svdm_dp_config_pin_mode)
{
	uint32_t payload[] = { 0x0, 0x0 };
	const int port = 0;
	const int pin_mode = MODE_DP_PIN_D | MODE_DP_PIN_E;
	const int opos = pd_alt_mode(port, TCPCI_MSG_SOP, USB_SID_DISPLAYPORT);

	get_dp_pin_mode_fake.return_val = MODE_DP_PIN_D | MODE_DP_PIN_E;
	zassert_equal(2, svdm_dp_config(port, payload));

	zassert_equal(VDO(USB_SID_DISPLAYPORT, 1,
			  CMD_DP_CONFIG | VDO_OPOS(opos)),
		      payload[0]);
	zassert_equal(VDO_DP_CFG(pin_mode, /* pin mode */
				 1, /* DPv1.3 signaling */
				 2) /* UFP connected */,
		      payload[1]);
}

ZTEST(corsola_usb_pd_policy, test_svdm_dp_post_config_active_port)
{
	const int port = 0;

	svdm_set_hpd_gpio(port, 1);
	svdm_dp_post_config(port);

	for (int i = 0; i < board_get_usb_pd_port_count(); i++) {
		if (i == port) {
			zassert_true(dp_flags[i] & DP_FLAGS_DP_ON);
		} else {
			zassert_false(dp_flags[i] & DP_FLAGS_DP_ON);
		}
	}

	zassert_equal(active_aux_port, port);
	zassert_equal(usb_mux_get(port), USB_PD_MUX_DP_ENABLED |
						 USB_PD_MUX_HPD_LVL |
						 USB_PD_MUX_HPD_IRQ_DEASSERTED);
}

ZTEST(corsola_usb_pd_policy, test_svdm_dp_post_config_inactive_port)
{
	const int port = 0;

	svdm_set_hpd_gpio(1, 1);
	svdm_dp_post_config(port);

	for (int i = 0; i < board_get_usb_pd_port_count(); i++) {
		if (i == port) {
			zassert_true(dp_flags[i] & DP_FLAGS_DP_ON);
		} else {
			zassert_false(dp_flags[i] & DP_FLAGS_DP_ON);
		}
	}

	zassert_equal(active_aux_port, 1);
	zassert_equal(usb_mux_get(port), 0);
}
ZTEST_SUITE(corsola_usb_pd_policy, NULL, NULL, corsola_reset, corsola_reset,
	    NULL);
```

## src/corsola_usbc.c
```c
/* Copyright 2023 The ChromiumOS Authors
 * Use of this source code is governed by a BSD-style license that can be
 * found in the LICENSE file.
 */

#include "ap_power/ap_power.h"
#include "ap_power/ap_power_events.h"
#include "driver/tcpm/tcpm.h"
#include "ec_app_main.h"
#include "gpio.h"
#include "gpio/gpio.h"
#include "gpio/gpio_int.h"
#include "hooks.h"
#include "test/drivers/utils.h"
#include "usb_charge.h"
#include "usb_mux.h"
#include "usb_pd.h"
#include "usbc_ppc.h"
#include "variant_db_detection.h"

#include <zephyr/drivers/emul.h>
#include <zephyr/drivers/gpio.h>
#include <zephyr/drivers/gpio/gpio_emul.h>
#include <zephyr/fff.h>
#include <zephyr/kernel.h>
#include <zephyr/logging/log.h>
#include <zephyr/ztest.h>

void x_ec_interrupt(enum gpio_signal signal);

#define LOG_LEVEL 0
LOG_MODULE_REGISTER(corsola_usbc);

FAKE_VOID_FUNC(ppc_interrupt, enum gpio_signal);
FAKE_VALUE_FUNC(enum corsola_db_type, corsola_get_db_type);
FAKE_VALUE_FUNC(bool, in_interrupt_context);
DECLARE_FAKE_VOID_FUNC(bmi3xx_interrupt);
FAKE_VOID_FUNC(hdmi_hpd_interrupt);
FAKE_VOID_FUNC(ps185_hdmi_hpd_mux_set);
FAKE_VALUE_FUNC(bool, ps8743_field_update, const struct usb_mux *, uint8_t,
		uint8_t, uint8_t);
FAKE_VALUE_FUNC(int, tc_is_attached_src, int);
FAKE_VALUE_FUNC(int, usb_charge_set_mode, int, enum usb_charge_mode,
		enum usb_suspend_charge);
FAKE_VALUE_FUNC(int, board_set_active_charge_port, int);
FAKE_VOID_FUNC(pd_power_supply_reset, int);
FAKE_VALUE_FUNC(int, pd_check_vconn_swap, int);
FAKE_VALUE_FUNC(int, pd_set_power_supply_ready, int);
FAKE_VOID_FUNC(bc12_interrupt, enum gpio_signal);

#define FFF_FAKES_LIST(FAKE)               \
	FAKE(corsola_get_db_type)          \
	FAKE(in_interrupt_context)         \
	FAKE(bmi3xx_interrupt)             \
	FAKE(hdmi_hpd_interrupt)           \
	FAKE(ps185_hdmi_hpd_mux_set)       \
	FAKE(ps8743_field_update)          \
	FAKE(usb_charge_set_mode)          \
	FAKE(ppc_interrupt)                \
	FAKE(board_set_active_charge_port) \
	FAKE(pd_power_supply_reset)        \
	FAKE(pd_check_vconn_swap)          \
	FAKE(pd_set_power_supply_ready)    \
	FAKE(bc12_interrupt)               \
	FAKE(tc_is_attached_src)

extern void xhci_interrupt(enum gpio_signal signal);
extern void baseboard_init(void);
extern void baseboard_x_ec_gpio2_init(void);

static int get_gpio_output(const struct gpio_dt_spec *const spec)
{
	return gpio_emul_output_get(spec->port, spec->pin);
}

ZTEST(corsola_usbc, test_xhci_interrupt_0_src_attached)
{
	const struct gpio_dt_spec *xhci =
		GPIO_DT_FROM_NODELABEL(gpio_ap_xhci_init_done);

	gpio_emul_input_set(xhci->port, xhci->pin, 0);
	tc_is_attached_src_fake.return_val = true;
	xhci_interrupt(GPIO_SIGNAL(DT_NODELABEL(gpio_ap_xhci_init_done)));

	for (int i = 0; i < USB_PORT_COUNT; i++) {
		zassert_equal(usb_charge_set_mode_fake.arg0_history[i], i);
		zassert_equal(usb_charge_set_mode_fake.arg1_history[i],
			      USB_CHARGE_MODE_DISABLED);
		zassert_equal(usb_charge_set_mode_fake.arg2_history[i],
			      USB_ALLOW_SUSPEND_CHARGE);
	}
}

ZTEST(corsola_usbc, test_xhci_interrupt_0)
{
	const struct gpio_dt_spec *xhci =
		GPIO_DT_FROM_NODELABEL(gpio_ap_xhci_init_done);

	gpio_emul_input_set(xhci->port, xhci->pin, 0);
	tc_is_attached_src_fake.return_val = false;
	xhci_interrupt(GPIO_SIGNAL(DT_NODELABEL(gpio_ap_xhci_init_done)));

	for (int i = 0; i < USB_PORT_COUNT; i++) {
		zassert_equal(usb_charge_set_mode_fake.arg0_history[i], i);
		zassert_equal(usb_charge_set_mode_fake.arg1_history[i],
			      USB_CHARGE_MODE_DISABLED);
		zassert_equal(usb_charge_set_mode_fake.arg2_history[i],
			      USB_ALLOW_SUSPEND_CHARGE);
	}
}

ZTEST(corsola_usbc, test_xhci_interrupt_1)
{
	const struct gpio_dt_spec *xhci =
		GPIO_DT_FROM_NODELABEL(gpio_ap_xhci_init_done);

	gpio_emul_input_set(xhci->port, xhci->pin, 1);
	xhci_interrupt(GPIO_SIGNAL(DT_NODELABEL(gpio_ap_xhci_init_done)));

	for (int i = 0; i < USB_PORT_COUNT; i++) {
		zassert_equal(usb_charge_set_mode_fake.arg0_history[i], i);
		zassert_equal(usb_charge_set_mode_fake.arg1_history[i],
			      USB_CHARGE_MODE_ENABLED);
		zassert_equal(usb_charge_set_mode_fake.arg2_history[i],
			      USB_ALLOW_SUSPEND_CHARGE);
	}
}

ZTEST(corsola_usbc, test_x_ec_interrupt)
{
	const struct gpio_dt_spec *x_ec =
		GPIO_DT_FROM_NODELABEL(gpio_x_ec_gpio2);

	corsola_get_db_type_fake.return_val = CORSOLA_DB_TYPEC;
	gpio_emul_input_set(x_ec->port, x_ec->pin, 1);
	x_ec_interrupt(GPIO_SIGNAL(DT_NODELABEL(gpio_x_ec_gpio2)));
	zassert_equal(0, hdmi_hpd_interrupt_fake.call_count);
	zassert_equal(1, ppc_interrupt_fake.call_count);

	corsola_get_db_type_fake.return_val = CORSOLA_DB_HDMI;
	x_ec_interrupt(GPIO_SIGNAL(DT_NODELABEL(gpio_x_ec_gpio2)));
	zassert_equal(1, hdmi_hpd_interrupt_fake.call_count);
	zassert_equal(1, ppc_interrupt_fake.call_count);

	corsola_get_db_type_fake.return_val = CORSOLA_DB_NONE;
	x_ec_interrupt(GPIO_SIGNAL(DT_NODELABEL(gpio_x_ec_gpio2)));
	zassert_equal(1, hdmi_hpd_interrupt_fake.call_count);
	zassert_equal(1, ppc_interrupt_fake.call_count);
}

ZTEST(corsola_usbc, test_pd_get_drp_state_in_s0)
{
	const struct gpio_dt_spec *xhci =
		GPIO_DT_FROM_NODELABEL(gpio_ap_xhci_init_done);

	gpio_emul_input_set(xhci->port, xhci->pin, 1);
	zassert_equal(pd_get_drp_state_in_s0(), PD_DRP_TOGGLE_ON);

	gpio_emul_input_set(xhci->port, xhci->pin, 0);
	zassert_equal(pd_get_drp_state_in_s0(), PD_DRP_FORCE_SINK);
}

ZTEST(corsola_usbc, test_baseboard_init)
{
	int flags;

	zassert_ok(gpio_pin_get_config_dt(
		GPIO_DT_FROM_NODELABEL(gpio_ap_xhci_init_done), &flags));
	zassert_equal(flags & GPIO_INT_ENABLE, 0, "actual GPIO flags were %#x",
		      flags);

	zassert_ok(gpio_pin_get_config_dt(
		GPIO_DT_FROM_NODELABEL(gpio_ccd_mode_odl), &flags));
	zassert_equal(flags & GPIO_INT_ENABLE, 0, "actual GPIO flags were %#x",
		      flags);

	baseboard_init();

	zassert_ok(gpio_pin_get_config_dt(
		GPIO_DT_FROM_NODELABEL(gpio_ap_xhci_init_done), &flags));
	zassert_equal(flags & GPIO_INT_ENABLE, GPIO_INT_ENABLE,
		      "actual GPIO flags were %#x", flags);

	zassert_ok(gpio_pin_get_config_dt(
		GPIO_DT_FROM_NODELABEL(gpio_ccd_mode_odl), &flags));
	zassert_equal(flags & GPIO_INT_ENABLE, GPIO_INT_ENABLE,
		      "actual GPIO flags were %#x", flags);
}

extern bool tasks_inited;

ZTEST(corsola_usbc, test_baseboard_x_ec_gpio2_init)
{
	int flags;

	/* no board */
	corsola_get_db_type_fake.return_val = CORSOLA_DB_NONE;
	baseboard_x_ec_gpio2_init();
	k_sleep(K_SECONDS(1));
	zassert_equal(tasks_inited, false);
	zassert_ok(gpio_pin_get_config_dt(
		GPIO_DT_FROM_NODELABEL(gpio_x_ec_gpio2), &flags));
	zassert_equal(flags & GPIO_INT_ENABLE, 0, "actual GPIO flags were %#x",
		      flags);
	gpio_reset(GPIO_SIGNAL(DT_NODELABEL(gpio_x_ec_gpio2)));

	/* type-c board */
	corsola_get_db_type_fake.return_val = CORSOLA_DB_TYPEC;
	baseboard_x_ec_gpio2_init();
	k_sleep(K_SECONDS(1));
	zassert_equal(tasks_inited, false);
	zassert_ok(gpio_pin_get_config_dt(
		GPIO_DT_FROM_NODELABEL(gpio_x_ec_gpio2), &flags));
	zassert_equal(flags & (GPIO_INT_ENABLE | GPIO_INT_EDGE_FALLING),
		      GPIO_INT_ENABLE | GPIO_INT_EDGE_FALLING,
		      "actual GPIO flags were %#x", flags);
	gpio_reset(GPIO_SIGNAL(DT_NODELABEL(gpio_x_ec_gpio2)));

	/* hdmi board */
	corsola_get_db_type_fake.return_val = CORSOLA_DB_HDMI;
	baseboard_x_ec_gpio2_init();
	k_sleep(K_SECONDS(1));
	zassert_ok(gpio_pin_get_config_dt(
		GPIO_DT_FROM_NODELABEL(gpio_x_ec_gpio2), &flags));
	zassert_equal(flags & GPIO_INT_ENABLE, GPIO_INT_ENABLE,
		      "actual GPIO flags were %#x", flags);
	zassert_equal(tasks_inited, true);

	ap_power_ev_send_callbacks(AP_POWER_SUSPEND);
	k_sleep(K_SECONDS(1));
	zassert_equal(get_gpio_output(GPIO_DT_FROM_ALIAS(gpio_en_hdmi_pwr)), 0);
	zassert_equal(get_gpio_output(GPIO_DT_FROM_ALIAS(gpio_ps185_pwrdn_odl)),
		      0);

	ap_power_ev_send_callbacks(AP_POWER_RESUME);
	k_sleep(K_SECONDS(1));
	zassert_equal(get_gpio_output(GPIO_DT_FROM_ALIAS(gpio_en_hdmi_pwr)), 1);
	zassert_equal(get_gpio_output(GPIO_DT_FROM_ALIAS(gpio_ps185_pwrdn_odl)),
		      1);
}

static void corsola_reset(void *fixture)
{
	ARG_UNUSED(fixture);

	/* Reset fakes */
	FFF_FAKES_LIST(RESET_FAKE);
	FFF_RESET_HISTORY();
}

ZTEST_SUITE(corsola_usbc, NULL, NULL, corsola_reset, corsola_reset, NULL);
```

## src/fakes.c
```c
/* Copyright 2022 The ChromiumOS Authors
 * Use of this source code is governed by a BSD-style license that can be
 * found in the LICENSE file.
 */

#include "gpio_signal.h"

#include <zephyr/fff.h>

FAKE_VOID_FUNC(power_button_interrupt, enum gpio_signal);
FAKE_VOID_FUNC(button_interrupt, enum gpio_signal);
FAKE_VOID_FUNC(chipset_reset_request_interrupt, enum gpio_signal);
FAKE_VOID_FUNC(power_signal_interrupt, enum gpio_signal);
FAKE_VOID_FUNC(chipset_watchdog_interrupt, enum gpio_signal);
FAKE_VOID_FUNC(extpower_interrupt, enum gpio_signal);
#if (!(defined(CONFIG_TEST_KINGLER_USBC) ||             \
       defined(CONFIG_TEST_DB_DETECTION_USB_COUNT))) && \
	!defined(CONFIG_TEST_CORSOLA_USBC)
FAKE_VOID_FUNC(xhci_interrupt, enum gpio_signal);
#endif
#if !defined(CONFIG_TEST_KINGLER_USBC) && !defined(CONFIG_TEST_CORSOLA_USBC)
FAKE_VOID_FUNC(lid_interrupt, enum gpio_signal);
FAKE_VOID_FUNC(usb_a0_interrupt, enum gpio_signal);
FAKE_VOID_FUNC(tcpc_alert_event, enum gpio_signal);
FAKE_VOID_FUNC(ppc_interrupt, enum gpio_signal);
FAKE_VOID_FUNC(bc12_interrupt, enum gpio_signal);
FAKE_VOID_FUNC(pd_power_supply_reset, int);
FAKE_VOID_FUNC(pd_set_power_supply_ready, int);
FAKE_VALUE_FUNC(int, pd_snk_is_vbus_provided, int);
FAKE_VALUE_FUNC(int, pd_check_vconn_swap, int);
#endif
FAKE_VOID_FUNC(chipset_warm_reset_interrupt, enum gpio_signal);
#ifndef CONFIG_TEST_KINGLER_CCD
FAKE_VOID_FUNC(ccd_interrupt, enum gpio_signal);
#endif

#if (defined(CONFIG_TEST_STEELIX_RUSTY) || defined(CONFIG_TEST_PONYTA) || \
     defined(CONFIG_TEST_SQUIRTLE))
#ifndef CONFIG_TEST_SQUIRTLE
FAKE_VOID_FUNC(x_ec_interrupt, enum gpio_signal);
#else
FAKE_VOID_FUNC(motion_sensors_check_ssfc);
#endif
#else
FAKE_VOID_FUNC(motion_interrupt, enum gpio_signal);
#endif

#ifdef CONFIG_VARIANT_CORSOLA_DB_DETECTION
FAKE_VOID_FUNC(bmi3xx_interrupt, enum gpio_signal);
#endif

int extpower_is_present(void)
{
	return 1;
}
```
